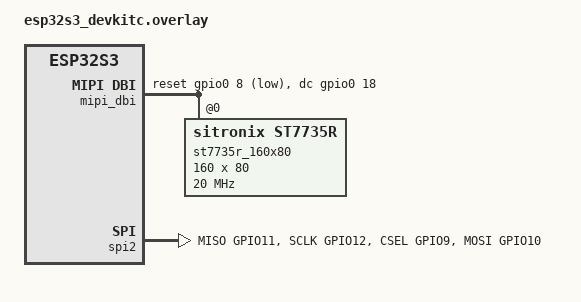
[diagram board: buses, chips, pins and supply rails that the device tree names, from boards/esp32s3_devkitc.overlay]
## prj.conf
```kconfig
# Needed for display and LVGL (prevent stack overflow and crash)
CONFIG_MAIN_STACK_SIZE=4096

# Enable display driver (ST7735R)
CONFIG_DISPLAY=y

# Configure LVGL
CONFIG_LVGL=y
CONFIG_LV_MEM_CUSTOM=y
CONFIG_LV_Z_BITS_PER_PIXEL=16
CONFIG_LV_COLOR_16_SWAP=y
CONFIG_LV_Z_MEM_POOL_SIZE=8192

# Enable LVGL widgets
CONFIG_LV_CONF_MINIMAL=y
CONFIG_LV_USE_LABEL=y
CONFIG_LV_LABEL_TEXT_SELECTION=y
CONFIG_LV_LABEL_LONG_TXT_HINT=y
CONFIG_LV_USE_LINE=y

# Enable font support
CONFIG_LV_FONT_MONTSERRAT_20=y
```

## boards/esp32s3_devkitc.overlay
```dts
#include <zephyr/dt-bindings/mipi_dbi/mipi_dbi.h>

/ {

    chosen {
        zephyr,display = &st7735r_160x80;
    };

    mipi_dbi {
		compatible = "zephyr,mipi-dbi-spi";
		spi-dev = <&spi2>;
		dc-gpios = <&gpio0 18 GPIO_ACTIVE_HIGH>;
        reset-gpios = <&gpio0 8 GPIO_ACTIVE_LOW>;
		#address-cells = <1>;
		#size-cells = <0>;

		st7735r_160x80: st7735r@0 {
			compatible = "sitronix,st7735r";
            reg = <0>;
			mipi-max-frequency = <20000000>;
			mipi-mode = <MIPI_DBI_MODE_SPI_4WIRE>;
			width = <160>;
			height = <80>;
			inversion-on;
			rgb-is-inverted; 
			x-offset = <1>;
			y-offset = <26>;
			pwctr1 = [A2 02 84];
			pwctr2 = [C5];
			pwctr3 = [0A 00];
			pwctr4 = [8A 2A];
			pwctr5 = [8A EE];
			invctr = <7>;
			frmctr1 = [01 2C 2D];
			frmctr2 = [01 2C 2D];
			frmctr3 = [01 2C 2D 01 2C 2D];
			vmctr1 = <14>;
			gamctrp1 = [02 1C 07 12 37 32 29 2D 29 25 2B 39 00 01 03 10];
			gamctrn1 = [03 1D 07 06 2E 2C 29 2D 2E 2E 37 3F 00 00 02 10];
			colmod = <5>;
			/* Set D3 (RGB) bit to 1. LV_COLOR_16_SWAP is enabled by default */
			madctl = <184>; /* Set to <184> to rotate the image 180 degrees. */
			caset = [00 01 00 a0];
			raset = [00 1a 00 69];
		};
	};
};

&spi2 {
	pinctrl-0 = <&spi2_custom_pins>;
    status = "okay";
};

&pinctrl {
    spi2_custom_pins: spi2_custom_pins {
        group1 {
			pinmux = <SPIM2_MISO_GPIO11>,
				     <SPIM2_SCLK_GPIO12>,
				     <SPIM2_CSEL_GPIO9>;
		};
		group2 {
			pinmux = <SPIM2_MOSI_GPIO10>;
			output-low;
		};
    };
};
```

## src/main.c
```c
#include <zephyr/kernel.h>
#include <zephyr/drivers/display.h>
#include <lvgl.h>
#include <string.h>

// Settings
static const int32_t sleep_time_ms = 50;	// Target 20 FPS

int main(void)
{
	uint32_t count = 0;
	char buf[11] = {0};
	const struct device *display;
	uint32_t width;
	lv_obj_t *hello_label;
	lv_obj_t *counter_label;
	lv_obj_t *rect;
	lv_obj_t *circle;
	lv_style_t counter_label_style;
	lv_style_t rect_style;
	lv_style_t circle_style;
	lv_point_t rect_points[5] = { {0, 0}, {120, 0}, {120, 20}, {0, 20}, {0, 0} };
	const uint32_t circle_radius = 15;
	uint32_t circle_pos = 0;

	// Make sure the display has been initialized
	display = DEVICE_DT_GET(DT_CHOSEN(zephyr_display));
	if (!device_is_ready(display)) {
		printk("Error: display not ready\r\n");
		return 0;
	}

	// Get width of the default display
	width = (uint32_t)lv_disp_get_hor_res(NULL);

	// Create static label widget
	hello_label = lv_label_create(lv_scr_act());
	lv_label_set_text(hello_label, "Hello, World!");
	lv_obj_align(hello_label, LV_ALIGN_TOP_MID, 0, 5);

	// Adjust style for counter label
	lv_style_init(&counter_label_style);
	lv_style_set_text_font(&counter_label_style, &lv_font_montserrat_20);

	// Create dynamic label widget
	counter_label = lv_label_create(lv_scr_act());
	lv_obj_add_style(counter_label, &counter_label_style, 0);
	lv_obj_align(counter_label, LV_ALIGN_BOTTOM_MID, 0, 0);

	// Set line style
	lv_style_init(&rect_style);
    lv_style_set_line_color(&rect_style, lv_color_hex(0x0000FF));
    lv_style_set_line_width(&rect_style, 3);

	// Create a rectangle out of lines
	rect = lv_line_create(lv_scr_act());
	lv_obj_add_style(rect, &rect_style, 0);
	lv_line_set_points(rect, 
					   rect_points, 
					   sizeof(rect_points) / sizeof(rect_points[0]));
	lv_obj_align(rect, LV_ALIGN_TOP_MID, 0, 0);

	// Set circle style
	lv_style_init(&circle_style);
	lv_style_set_radius(&circle_style, circle_radius);
    lv_style_set_bg_opa(&circle_style, LV_OPA_100);
    lv_style_set_bg_color(&circle_style, lv_color_hex(0xFF0000));

	// Create an object with the new style
	circle = lv_obj_create(lv_scr_act());
	lv_obj_set_size(circle, circle_radius * 2, circle_radius * 2);
	lv_obj_add_style(circle, &circle_style, 0);
	lv_obj_align(circle, LV_ALIGN_LEFT_MID, 0, 0);

	// lv_task_handler();
	display_blanking_off(display);

	// Do forever
	while (1) {

		// Update counter label every second
		if ((count % (1000 / sleep_time_ms)) == 0U) {
			sprintf(buf, "%d", count / (1000 / sleep_time_ms));
			lv_label_set_text(counter_label, buf);
		}
		count++;

		// Move the circle
		if (circle_pos >= width) {
			circle_pos = 0;
		}
		lv_obj_align(circle, 
					 LV_ALIGN_LEFT_MID, 
					 circle_pos - circle_radius, 0);
		circle_pos += width / (1000 / sleep_time_ms);

		// Must be called periodically
		lv_task_handler();

		// Sleep
		k_msleep(sleep_time_ms);
	}
}
```
